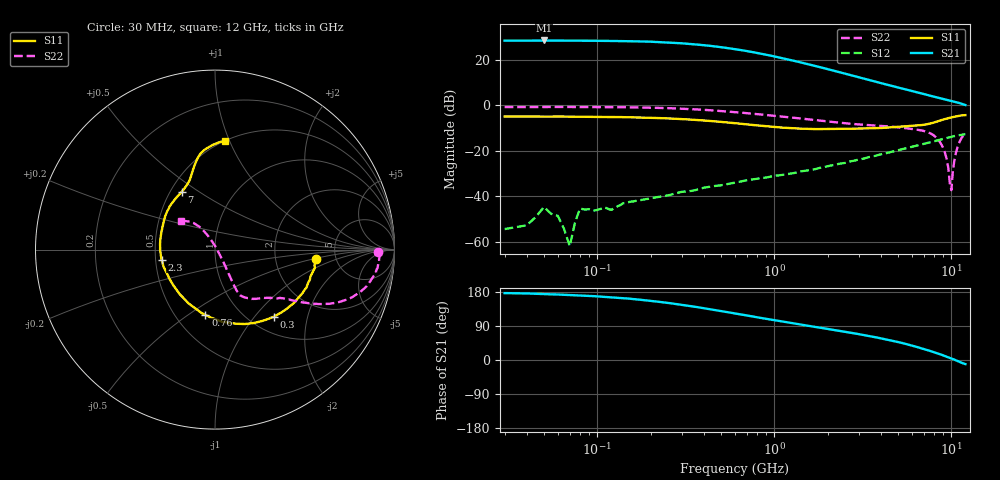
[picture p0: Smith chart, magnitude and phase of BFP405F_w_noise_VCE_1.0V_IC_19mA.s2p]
! Infineon Technologies  Discrete & RF Semiconductors
! BFP405F
! VCE =  1.0 V,  IC =  19 mA
! Common Emitter S-Parameters:  Nov 2015
# GHz  S  MA  R  50
!  f  S11  S21  S12  S22
! GHz  MAG  ANG  MAG  ANG  MAG  ANG  MAG  ANG
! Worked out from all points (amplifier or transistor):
!   239 points, 30 MHz to 12 GHz, reference 50 ohm
!   highest |S21| = 28.5 dB at 50 MHz (marker M1)
!   |S21| within 3 dB of that: start of sweep to 505.3 MHz
!   unconditionally stable (mu >= 1): start of sweep to 37.92 MHz; 65.48 MHz to 72.8 MHz; 1.138 GHz to end of sweep
!   at 300 MHz: K = 0.42, MSG = 32.6 dB, |S12| = -38.1 dB
!   at 1.88 GHz: K = 1.29, MAG = 18.7 dB, |S12| = -27.3 dB
!   at 12 GHz: K = 1.51, MAG = 2.2 dB, |S12| = -12.7 dB
!   lowest NFmin = 2.19 dB at 450 MHz
!   S11 on the Smith chart (normalised r, x): 30 MHz: 3.51, -0.55; 300 MHz: 1.27, -1.26; 760 MHz: 0.70, -0.59; 2.3 GHz: 0.54, -0.07; 7 GHz: 0.57, +0.43; 12 GHz: 0.50, +0.96
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0.03  0.5658 -5.4  26.24 176.6  0.0019 71.8  0.9105 -1.0
0.04  0.5636 -7.1  26.33 175.6  0.0023 88.0  0.9148 -1.7
0.05  0.5607 -9.0  26.5 173.8  0.0058 153.3  0.9167 -1.8
0.07  0.5613 -11.8  26.29 171.1  0.0008 178.1  0.9154 -3.5
0.08  0.5566 -14.1  26.14 170.0  0.0054 83.1  0.9189 -4.4
0.085  0.5544 -14.8  26.16 169.6  0.0051 67.6  0.9159 -4.7
0.15  0.5448 -26.2  25.59 162.1  0.0074 78.3  0.9 -8.9
0.2  0.5308 -34.1  24.9 155.9  0.009 72.6  0.8824 -11.6
0.24  0.5171 -40.0  24.06 151.8  0.0101 73.3  0.8671 -13.8
0.3  0.4974 -48.8  22.94 145.5  0.0125 74.3  0.8381 -16.6
0.42  0.4559 -64.5  20.45 135.1  0.0159 67.2  0.7827 -20.9
0.6  0.4043 -84.4  17.06 122.7  0.0199 64.2  0.7042 -25.4
0.76  0.3674 -98.4  14.62 114.6  0.0236 63.0  0.6502 -27.8
1.1  0.3224 -122.6  10.9 101.7  0.0293 62.4  0.5649 -31.3
1.64  0.3009 -148.7  7.569 88.5  0.0384 62.6  0.4808 -34.8
2.3  0.3028 -169.3  5.407 77.4  0.0513 63.1  0.4158 -40.3
4.5  0.3258 151.4  2.725 52.4  0.0927 57.0  0.3405 -53.7
7  0.3722 119.6  1.759 28.7  0.1419 45.7  0.2713 -61.9
9  0.4852 103.5  1.375 12.1  0.1819 35.2  0.1132 -58.2
10  0.5395 98.8  1.247 4.1  0.2028 29.4  0.0136 66.6
10.6  0.5671 94.5  1.176 -0.8  0.2132 25.3  0.0885 117.3
12  0.6064 84.6  1.009 -10.8  0.2313 18.3  0.2483 139.3
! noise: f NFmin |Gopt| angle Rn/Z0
0.45  2.19  0.03  -9  0.5
0.9  2.21  0.01  -43  0.33
1.5  2.26  0.02  -82  0.27
1.9  2.32  0.03  -109  0.39
2.4  2.46  0.03  -113  0.24
3  2.56  0.05  -115  0.11
3.5  2.63  0.07  -116  0.14
4.5  2.86  0.13  -104  0.46
5.5  3.17  0.23  -88  0.49
